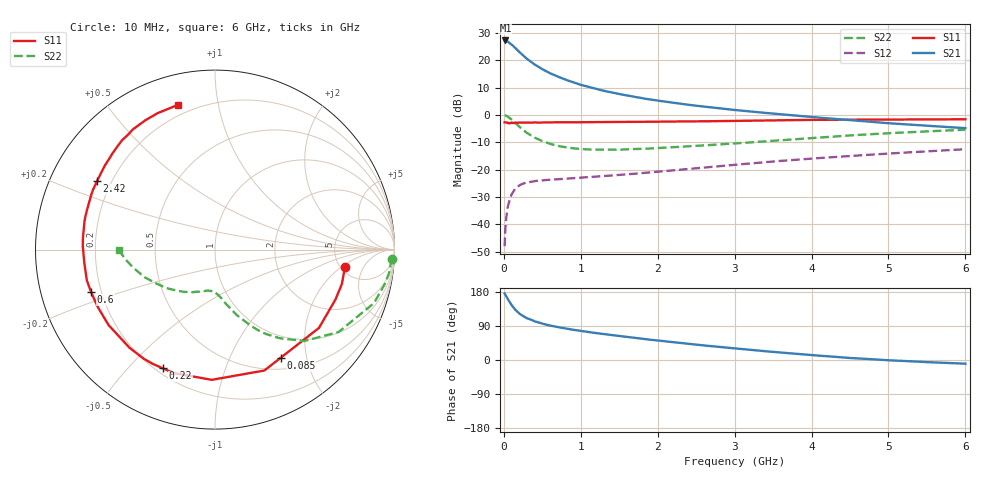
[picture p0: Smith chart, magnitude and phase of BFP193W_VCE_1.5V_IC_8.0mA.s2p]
! Infineon Technologies  Discrete & RF Semiconductors
! BFP193W
! VCE = 1.5 V,  IC =  8.0 mA
! Common Emitter S-Parameters:  Jan 2016
# GHz  S  MA  R  50
!  f  S11  S21  S12  S22
! GHz  MAG  ANG  MAG  ANG  MAG  ANG  MAG  ANG
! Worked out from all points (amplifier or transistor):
!   210 points, 10 MHz to 6 GHz, reference 50 ohm
!   highest |S21| = 27.2 dB at 20 MHz (marker M1)
!   |S21| within 3 dB of that: start of sweep to 158.4 MHz
!   unconditionally stable (mu >= 1): 1.379 GHz to 4.481 GHz
!   at 185 MHz: K = 0.19, MSG = 24.8 dB, |S12| = -26.1 dB
!   at 1.52 GHz: K = 1.05, MAG = 13.3 dB, |S12| = -21.9 dB
!   at 6 GHz: K = 0.94, MSG = 3.8 dB, |S12| = -12.5 dB
!   S11 on the Smith chart (normalised r, x): 10 MHz: 5.48, -2.24; 85 MHz: 0.66, -1.58; 220 MHz: 0.23, -0.63; 600 MHz: 0.16, -0.16; 2.42 GHz: 0.15, +0.26; 6 GHz: 0.15, +0.77
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0.01  0.7307 -7.5  22.87 175.3  0.004 86.7  0.9855 -3.0
0.02  0.7323 -15.2  22.89 172.2  0.0085 83.2  0.9785 -7.8
0.05  0.7252 -37.0  21.97 160.9  0.0205 72.7  0.9347 -18.6
0.085  0.7051 -58.7  20.01 150.0  0.0306 61.7  0.8533 -28.8
0.1  0.7276 -67.8  19.42 144.8  0.0351 59.0  0.8278 -33.7
0.15  0.7258 -91.4  16.65 132.0  0.0454 48.5  0.7116 -45.7
0.2  0.7256 -108.7  14.15 122.7  0.0514 41.7  0.6107 -53.9
0.22  0.7226 -113.7  13.35 120.2  0.0531 39.7  0.5793 -56.3
0.26  0.726 -123.2  11.86 114.8  0.0562 36.3  0.5208 -61.1
0.3  0.7253 -131.1  10.56 110.2  0.0581 33.7  0.4685 -64.8
0.4  0.7269 -144.7  8.329 102.0  0.0618 29.8  0.3844 -71.6
0.5  0.7273 -154.1  6.837 95.7  0.0637 28.1  0.3315 -76.2
0.6  0.7298 -161.1  5.769 90.9  0.0655 27.2  0.2959 -80.0
0.8  0.7317 -171.0  4.402 83.1  0.0682 28.0  0.2564 -85.3
1.02  0.7331 -178.9  3.482 76.2  0.0715 29.6  0.2374 -90.7
1.4  0.7408 170.8  2.569 65.7  0.0783 33.3  0.2317 -98.4
2.02  0.7524 157.4  1.807 51.0  0.0922 39.0  0.2492 -110.1
2.42  0.7599 149.9  1.517 42.3  0.1033 41.3  0.2685 -118.0
3.1  0.7796 138.2  1.192 28.9  0.1261 43.0  0.3074 -131.6
4.1  0.8119 123.1  0.891 11.4  0.1628 41.2  0.3842 -151.5
5.1  0.8245 112.1  0.69 -1.6  0.2004 37.1  0.4701 -168.3
6  0.8325 104.3  0.573 -9.7  0.2362 32.6  0.5359 -179.7
